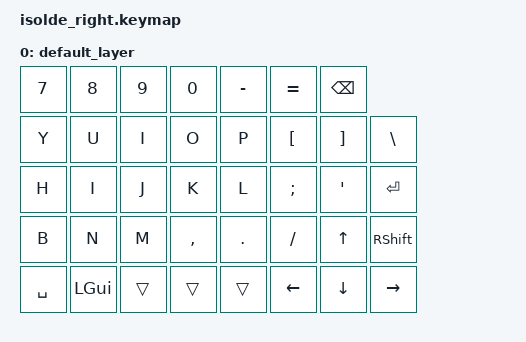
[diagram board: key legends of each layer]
// This file was generated from a template. Edit it to match your keyboard.
// See https://zmk.dev/docs/development/hardware-integration/new-shield for more instructions.

#include <behaviors.dtsi>
#include <dt-bindings/zmk/keys.h>

/ {
    // Define a default keymap here.
    // See https://zmk.dev/docs/development/hardware-integration/new-shield#default-keymap.
    keymap {
        compatible = "zmk,keymap";

        default_layer {
            bindings = <
                         &kp N7  &kp N8  &kp N9          &kp N0  &kp MINUS       &kp EQUAL       &kp BSPC 
                   &kp Y           &kp U   &kp I   &kp O           &kp P   &kp LBKT        &kp RBKT        &kp BSLH
                   &kp H           &kp I   &kp J   &kp K           &kp L   &kp SEMI        &kp SQT         &kp ENTER
                   &kp B           &kp N   &kp M   &kp COMMA       &kp DOT &kp SLASH       &kp UP          &kp RSHFT
                  &kp SPACE       &kp LGUI   &trans   &trans           &trans   &kp LEFT        &kp DOWN        &kp RIGHT
                >;
        };
    };
};
